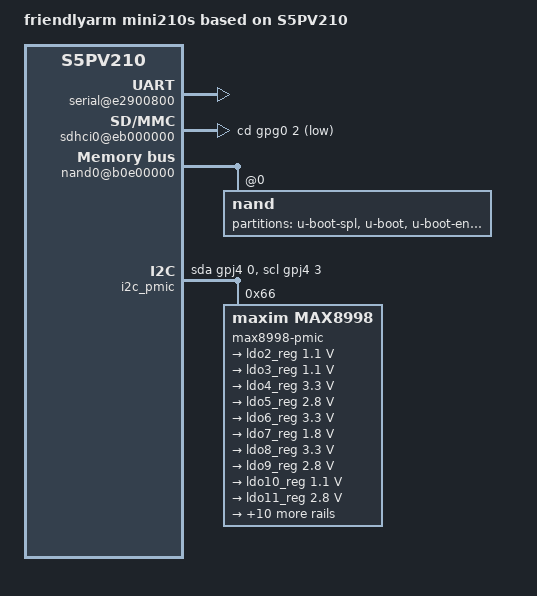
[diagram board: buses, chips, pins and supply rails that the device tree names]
// SPDX-License-Identifier: GPL-2.0+
/*
 * Samsung's S5PC110-based Goni board device tree source
 *
 * Copyright (c) 2014 Google, Inc
 */

/dts-v1/;

#include "skeleton.dtsi"
#include "s5pc110-pinctrl.dtsi"

/ {
	model = "friendlyarm  mini210s based on S5PV210";
	compatible = "friendlyarm,mini210s", "samsung,s5pv210";
	cpu-model = "S5PV210";

	aliases {
		serial2 = "/serial@e2900800";
		console = "/serial@e2900800";
		pinctrl0 = &pinctrl0;
		i2c3 = &i2c_pmic;
	};

	pinctrl0: pinctrl@e0200000 {
		compatible = "samsung,s5pc110-pinctrl";
		reg = <0xe0200000 0x1000>;
	};

	serial@e2900800 {
		compatible = "samsung,exynos4210-uart";
		reg = <0xe2900000 0x400>;
		id = <2>;
	};

	sdhci0@eb000000 {
		#address-cells = <1>;
		#size-cells = <0>;
		compatible = "samsung,exynos4412-sdhci";
		reg = <0xeb000000 0xff>;
		samsung,bus-width = <4>;
		cd-gpios = <&gpg0 2 0>;
		interrupts = <0 75 0>;
		max-frequency = <52000000>;
		cap-sd-highspeed;
		cap-mmc-highspeed;
		mmc-hs400-1_2v;
		mmc-hs400-1_8v;
		mmc-hs200-1_2v;
		mmc-hs200-1_8v;
		sd-uhs-sdr12;
		sd-uhs-sdr25;
		sd-uhs-sdr50;
		mmc-ddr-1_8v;
		mmc-ddr-1_2v;
		quirk,acmd12;
		cd-inverted;
		// sdhci-caps-mask = <0x80000 0>;
	};

	nand0@b0e00000 {
		#address-cells = <1>;
		#size-cells = <0>;
		compatible = "s5p,nfc";
		reg-names = "nand","ecc";
		reg = <0xb0e00000 0x40>,
			  <0xb0e20000 0x128>;
		status = "okay";

		nand@0 {
			reg = <0>;
			nand-ecc-step-size = <512>;
			nand-ecc-bytes = <13>;
			nand-ecc-strength = <1>;
			nand-ecc-mode = "soft";
			nand-on-flash-bbt;

			partitions {
				compatible = "fixed-partitions";
				#address-cells = <2>;
				#size-cells = <0>;

				partition@0 {
					label = "u-boot-spl";
					reg = <0x0 0x4000>;
				};

				partition@4000 {
					label = "u-boot";
					reg = <0x4000 0x80000>;
				};

				partition@84000 {
					label = "u-boot-env";
					reg = <0x84000 10000>;
				};

				partition@94000 {
					label = "kernel";
					reg = <0x94000 0x500000>;
				};

				partition@594000 {
					label = "rootfs";
					reg = <0x594000 0x2000000>;
				};
			};
		};	  
	};

	i2c_pmic: i2c-pmic {
		compatible = "i2c-gpio";
		gpios = <&gpj4 0 0>, /* sda */
			<&gpj4 3 0>; /* scl */
		i2c-gpio,delay-us = <2>;        /* ~100 kHz */
		#address-cells = <1>;
		#size-cells = <0>;
		status = "okay";

		max8998-pmic@66 {
			compatible = "maxim,max8998";
			reg = <0x66 0 0>;

			voltage-regulators {
				ldo2_reg: LDO2 {
					regulator-compatible = "LDO2";
					regulator-name = "VALIVE_1.1V";
					regulator-min-microvolt = <1100000>;
					regulator-max-microvolt = <1100000>;
					regulator-always-on;
				};

				ldo3_reg: LDO3 {
					regulator-compatible = "LDO3";
					regulator-name = "VUSB+MIPI_1.1V";
					regulator-min-microvolt = <1100000>;
					regulator-max-microvolt = <1100000>;
					regulator-always-on;
				};

				ldo4_reg: LDO4 {
					regulator-compatible = "LDO4";
					regulator-name = "VADC_3.3V";
					regulator-min-microvolt = <3300000>;
					regulator-max-microvolt = <3300000>;
				};

				ldo5_reg: LDO5 {
					regulator-compatible = "LDO5";
					regulator-name = "VTF_2.8V";
					regulator-min-microvolt = <2800000>;
					regulator-max-microvolt = <2800000>;
				};

				ldo6_reg: LDO6 {
					regulator-compatible = "LDO6";
					regulator-name = "VCC_3.3V";
					regulator-min-microvolt = <3300000>;
					regulator-max-microvolt = <3300000>;
				};

				ldo7_reg: LDO7 {
					regulator-compatible = "LDO7";
					regulator-name = "VLCD_1.8V";
					regulator-min-microvolt = <1800000>;
					regulator-max-microvolt = <1800000>;
					regulator-always-on;
				};

				ldo8_reg: LDO8 {
					regulator-compatible = "LDO8";
					regulator-name = "VUSB+VDAC_3.3V";
					regulator-min-microvolt = <3300000>;
					regulator-max-microvolt = <3300000>;
				};

				ldo9_reg: LDO9 {
					regulator-compatible = "LDO9";
					regulator-name = "VCC+VCAM_2.8V";
					regulator-min-microvolt = <2800000>;
					regulator-max-microvolt = <2800000>;
				};

				ldo10_reg: LDO10 {
					regulator-compatible = "LDO10";
					regulator-name = "VPLL_1.1V";
					regulator-min-microvolt = <1100000>;
					regulator-max-microvolt = <1100000>;
					regulator-boot-on;
				};

				ldo11_reg: LDO11 {
					regulator-compatible = "LDO11";
					regulator-name = "CAM_IO_2.8V";
					regulator-min-microvolt = <2800000>;
					regulator-max-microvolt = <2800000>;
				};

				ldo12_reg: LDO12 {
					regulator-compatible = "LDO12";
					regulator-name = "CAM_ISP_1.2V";
					regulator-min-microvolt = <1200000>;
					regulator-max-microvolt = <1200000>;
				};

				ldo13_reg: LDO13 {
					regulator-compatible = "LDO13";
					regulator-name = "CAM_A_2.8V";
					regulator-min-microvolt = <2800000>;
					regulator-max-microvolt = <2800000>;
				};

				ldo14_reg: LDO14 {
					regulator-compatible = "LDO14";
					regulator-name = "CAM_CIF_1.8V";
					regulator-min-microvolt = <1800000>;
					regulator-max-microvolt = <1800000>;
				};

				ldo15_reg: LDO15 {
					regulator-compatible = "LDO15";
					regulator-name = "CAM_AF_3.3V";
					regulator-min-microvolt = <3300000>;
					regulator-max-microvolt = <3300000>;
				};

				ldo16_reg: LDO16 {
					regulator-compatible = "LDO16";
					regulator-name = "VMIPI_1.8V";
					regulator-min-microvolt = <1800000>;
					regulator-max-microvolt = <1800000>;
				};

				ldo17_reg: LDO17 {
					regulator-compatible = "LDO17";
					regulator-name = "CAM_8M_1.8V";
					regulator-min-microvolt = <1800000>;
					regulator-max-microvolt = <1800000>;
					regulator-always-on;
				};

				buck1_reg: BUCK1 {
					regulator-compatible = "BUCK1";
					regulator-name = "VARM_1.2V";
					regulator-min-microvolt = <1200000>;
					regulator-max-microvolt = <1200000>;
				};

				buck2_reg: BUCK2 {
					regulator-compatible = "BUCK2";
					regulator-name = "VINT_1.2V";
					regulator-min-microvolt = <1200000>;
					regulator-max-microvolt = <1200000>;
				};

				buck3_reg: BUCK3 {
					regulator-compatible = "BUCK3";
					regulator-name = "VCC_1.8V";
					regulator-min-microvolt = <1800000>;
					regulator-max-microvolt = <1800000>;
					regulator-always-on;
				};

				buck4_reg: BUCK4 {
					regulator-compatible = "BUCK4";
					regulator-name = "CAM_CORE_1.2V";
					regulator-min-microvolt = <1200000>;
					regulator-max-microvolt = <1200000>;
					regulator-always-on;
				};
			};
		};
	};

};
